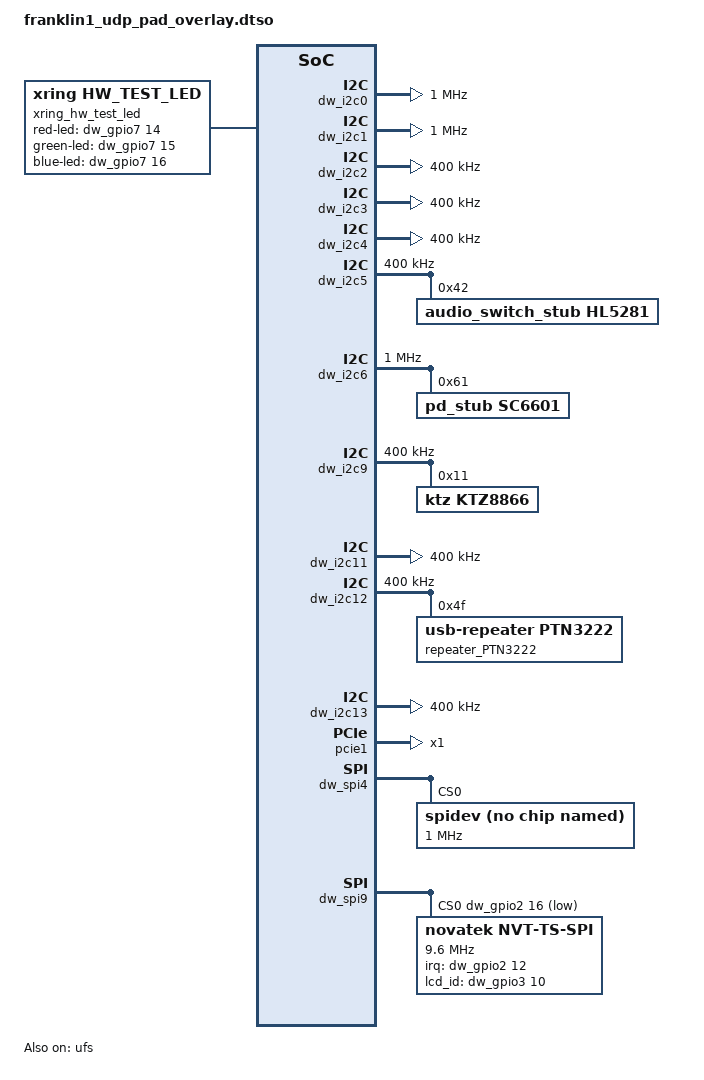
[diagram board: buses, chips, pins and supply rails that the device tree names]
// SPDX-License-Identifier: (GPL-2.0+ OR MIT)
/*
 * Copyright 2022 XiaoMi
 */

/dts-v1/;
/plugin/;
#include "franklin1_udp_pad.dtsi"
#include "../franklin1_udp.dtsi"
#include "franklin1_udp_pad_display_overlay.dtsi"
#include "franklin1_udp_pad_camera_overlay.dtsi"
#include "franklin1_udp_pad_audio_overlay.dtsi"
#include "xring_o1_udp_pad_pinctrl.dtsi"
#include "xring_o1_udp_pad_wifi_overlay.dtsi"
#include "franklin1_udp_pad_memory.dtsi"
#include "xring_o1_udp_pad_vpu_overlay.dtsi"
#include "xring_o1_udp_pad_uefi_pinctrl.dtsi"
#include "franklin1_udp_pad_thermal_overlay.dtsi"
#include <dt-bindings/xring/xr-id.h>
#include <dt-bindings/xring/xr-o1-clock.h>
#include <dt-bindings/gpio/gpio.h>

#define PRODUCT_ID          0x00        // product id, ADC6 coded value
#define PRODUCT_LOT         0x00        // product lot id, ADC7 coded value
#define PRODUCT_SUB_LOT     0x02        // product sub lot id, ADC8 coded value

//Splice the BoardId
#define BOARD_ID            ((F1_CS_CHIPID << 24) | (PRODUCT_ID << 16) | (PRODUCT_LOT << 8) | PRODUCT_SUB_LOT)

/ {
    board_id = <BOARD_ID>;
    board_rev = <0x00000000>;
};

&chosen {
    // Add vendor board bootargs at here!
    bootargs_ext = " ";
};

&ufs {
    status = "okay";
};

&dw_mmc {
    status = "disabled";
    clocks = <&xr_clk XR_CLK_EMMC_CCLK_BASE_INI>, <&xr_clk XR_HCLK_EMMC>;
};

&dw_i2c0 {
    status = "okay";
    clock-frequency = <1000000>;
    pinctrl-names = "init", "default", "sleep";
    pinctrl-0 = <&i2c0_scl_init>, <&i2c0_sda_init>;
    pinctrl-1 = <&i2c0_scl_default>, <&i2c0_sda_default>;
    pinctrl-2 = <&i2c0_scl_sleep>, <&i2c0_sda_sleep>;
};

&dw_i2c1 {
    status = "okay";
    clock-frequency = <1000000>;
    pinctrl-names = "init", "default", "sleep";
    pinctrl-0 = <&i2c1_scl_init>, <&i2c1_sda_init>;
    pinctrl-1 = <&i2c1_scl_default>, <&i2c1_sda_default>;
    pinctrl-2 = <&i2c1_scl_sleep>, <&i2c1_sda_sleep>;
};

&dw_i2c2 {
    status = "okay";
    clock-frequency = <400000>;
    pinctrl-names = "init", "default", "sleep";
    pinctrl-0 = <&i2c2_scl_init>, <&i2c2_sda_init>;
    pinctrl-1 = <&i2c2_scl_default>, <&i2c2_sda_default>;
    pinctrl-2 = <&i2c2_scl_sleep>, <&i2c2_sda_sleep>;
};

&dw_i2c3 {
    status = "okay";
    clock-frequency = <400000>;
    pinctrl-names = "init", "default", "sleep";
    pinctrl-0 = <&i2c3_scl_init>, <&i2c3_sda_init>;
    pinctrl-1 = <&i2c3_scl_default>, <&i2c3_sda_default>;
    pinctrl-2 = <&i2c3_scl_sleep>, <&i2c3_sda_sleep>;
};

&dw_i2c4 {
    status = "okay";
    clock-frequency = <400000>;
    pinctrl-names = "init", "default", "sleep";
    pinctrl-0 = <&i2c4_scl_init>, <&i2c4_sda_init>;
    pinctrl-1 = <&i2c4_scl_default>, <&i2c4_sda_default>;
    pinctrl-2 = <&i2c4_scl_sleep>, <&i2c4_sda_sleep>;
};

&dw_i2c5 {
    status = "okay";
    clock-frequency = <400000>;
    #address-cells = <1>;
    #size-cells = <0>;
    pinctrl-names = "init", "default", "sleep";
    pinctrl-0 = <&i2c5_scl_init>, <&i2c5_sda_init>;
    pinctrl-1 = <&i2c5_scl_default>, <&i2c5_sda_default>;
    pinctrl-2 = <&i2c5_scl_sleep>, <&i2c5_sda_sleep>;
    hw-spinlock = <82>;
    HL5281@42 {
        compatible = "audio_switch_stub,HL5281";
        reg = <0x42>;
        status = "okay";
    };
};

&dw_i2c6 {
    status = "okay";
    clock-frequency = <1000000>;
    #address-cells = <1>;
    #size-cells = <0>;
    pinctrl-names = "init", "default", "sleep";
    pinctrl-0 = <&i2c6_scl_init>, <&i2c6_sda_init>;
    pinctrl-1 = <&i2c6_scl_default>, <&i2c6_sda_default>;
    pinctrl-2 = <&i2c6_scl_sleep>, <&i2c6_sda_sleep>;
    SC6601@61 {
        compatible = "pd_stub,SC6601";
        reg = <0x61>;
        status = "okay";

        connector {
            compatible = "usb-c-connector";

            power-role = "source";
            data-role = "dual";
            self-powered;
        };
    };
};

&dw_i2c9 {
    status = "okay";
    #address-cells = <1>;
    #size-cells = <0>;
    clock-frequency = <400000>;
    pinctrl-names = "init", "default", "sleep";
    pinctrl-0 = <&i2c9_scl_init>, <&i2c9_sda_init>;
    pinctrl-1 = <&i2c9_scl_default>, <&i2c9_sda_default>;
    pinctrl-2 = <&i2c9_scl_sleep>, <&i2c9_sda_sleep>;

    ktz8866@11 {
        compatible = "ktz,ktz8866";
        reg = <0x11>;
        status = "okay";
    };
};

&dw_i2c11 {
    status = "okay";
    clock-frequency = <400000>;
};

&dw_i2c12 {
    status = "okay";
    clock-frequency = <400000>;
    #address-cells = <1>;
    #size-cells = <0>;
    pinctrl-names = "init", "default", "sleep";
    pinctrl-0 = <&i2c12_scl_init>, <&i2c12_sda_init>;
    pinctrl-1 = <&i2c12_scl_default>, <&i2c12_sda_default>;
    pinctrl-2 = <&i2c12_scl_sleep>, <&i2c12_sda_sleep>;
    repeater_PTN3222: PTN3222@4f {
        compatible = "usb-repeater,PTN3222";
        reg = <0x4f>;
        device-repeater =
                <0x21 0x07
                 0x64 0x08
                 0x03 0x0A>;
        host-repeater =
                <0x21 0x07
                 0x64 0x08
                 0x03 0x0A>;

        pinctrl-names = "init","release","reset";
        pinctrl-0 = <&gpio_154_init>;
        pinctrl-1 = <&gpio_154_default>;
        pinctrl-2 = <&gpio_154_sleep>;
        status = "okay";
    };
};

&dw_i2c13 {
    clock-frequency = <400000>;
    pinctrl-names = "init", "default", "sleep";
    pinctrl-0 = <&i2c13_scl_init>, <&i2c13_sda_init>;
    pinctrl-1 = <&i2c13_scl_default>, <&i2c13_sda_default>;
    pinctrl-2 = <&i2c13_scl_sleep>, <&i2c13_sda_sleep>;
};

&npu_smmu {
	status = "okay";
};

&pcie1 {
        status = "okay";
        max-link-speed = <3>;
        reset-assert-ms = <100>;
        pinctrl-names = "default";
        pinctrl-0 = <&pcie1_clk_req_n_init>;
        num-lanes = <1>;
        bypass-smmu;
        l2-diffbuf-shutdown;
        fw-upd-workaround;
        l12-doze-unmask;
        ep-pmic-en-gpio = <&dw_gpio4 2 0>;
        ep-device-type = "wifi";
};

&pcie0_pcie_test {
        modem-pmic-en = <&dw_gpio7 6 0>;
        modem-pmic-rst = <&dw_gpio6 28 0>;
        wf-pmic-rst = <&dw_gpio4 0 0>;
        wf-pmic-en = <&dw_gpio4 2 0>;
        max-link-speed = <4>;
};

&pcie1_pcie_test {
        modem-pmic-en = <&dw_gpio7 6 0>;
        modem-pmic-rst = <&dw_gpio6 28 0>;
        wf-pmic-rst = <&dw_gpio4 0 0>;
        wf-pmic-en = <&dw_gpio4 2 0>;
        max-link-speed = <4>;
};

&{/} {
    xring_hw_test_led {
        compatible = "xring,hw_test_led";
        red-led-gpio = <&dw_gpio7 14 0>;
        green-led-gpio = <&dw_gpio7 15 0>;
        blue-led-gpio = <&dw_gpio7 16 0>;
        status = "okay";
    };
};

&usb_hsphy {
    usb-repeater = <&repeater_PTN3222>;
};

&dw_spi4 {
    #address-cells = <1>;
    #size-cells = <0>;
    pinctrl-0 = <&spi4_mosi_init>;
    pinctrl-1 = <&spi4_mosi_default>;
    pinctrl-2 = <&spi4_mosi_sleep>;
    pinctrl-names = "init", "default", "sleep";
    status = "okay";
    spidev@0 {
        compatible = "linux,spidev";
        spi-max-frequency = <1000000>;
        reg = <0>;
    };
};

&dw_spi9 {
    #address-cells = <1>;
    #size-cells = <0>;
    pinctrl-0 = <&spi9_clk_init>, <&spi9_mosi_init>,
                <&spi9_miso_init>;
    pinctrl-1 = <&spi9_clk_default>, <&spi9_mosi_default>,
                <&spi9_miso_default>;
    pinctrl-2 = <&spi9_clk_sleep>, <&spi9_mosi_sleep>,
                <&spi9_miso_sleep>;
    pinctrl-names = "init", "default", "sleep";
    cs-gpios = <&dw_gpio2 16 GPIO_ACTIVE_LOW>;
    status = "okay";
    autosuspend-delay = <10>;
    novatek@0 {
        compatible = "novatek,NVT-ts-spi";
        dsi-panel = <&dsi_panel_m81_dualdsi_dsc_lcd_video>;
        reg = <0>;
        status = "ok";
        pinctrl-0 = <&gpio_076_init>, <&gpio_080_init>;
        pinctrl-1 = <&gpio_076_default>, <&gpio_080_default>;
        pinctrl-2 = <&gpio_076_sleep>, <&gpio_080_sleep>;
        pinctrl-names = "init", "default", "sleep";
        spi-max-frequency = <9600000>;	//4800000,9600000,15000000,19200000
        novatek,irq-gpio = <&dw_gpio2 12 0>;
        novatek,lcd_id-gpio = <&dw_gpio3 10 0>;

        novatek,pen-support;
        novatek,stylus-resol-double;

        /* MP */
        novatek,mp-support-dt;

        /*new touch faeature default param*/
        novatek,touch-game-param-config1 = <2 2 1 2 1>;
        novatek,touch-game-param-config2 = <2 2 2 2 1>;
        novatek,touch-game-param-config3 = <2 2 3 2 1>;
    };
};

&pmic {
	pmic-spmi-test {
		compatible = "xr-pmic-spmi-test";
		status = "okay";
	};
};

&sensorhub {
    conn {
		sh_gnss {
			status = "disabled";
		};
		sh_modem {
			status = "disabled";
		};
    };
    sensordriver {
        status = "okay";
        amg {
            status = "okay";
            amg1 {
                compatible = "st,lsm6dsvq";
                bus_type = <1>;
                bus_num = <1>;
                slave_address = <0>; // if i2c slave
                bus_speed_khz = <0>;
                i3c_device_id_flags = <0xF>;
                i3c_device_id_dcr = <0x44>;
                i3c_device_id_pid = /bits/ 64 <0x2080070120B>;
                driver_id = "lsm6dsvq";
                orientation = /bits/ 8 <1 4 6>;
                irq_num = /bits/ 8 <13>;
                chip_id_addr = <0xF>;
                chip_id_value = <0x70>;
                status = "okay";
            };
        };
        ois {
            status = "okay";
            ois1 {
                compatible = "st,ois";
                bus_type = <2>;
                bus_num = <11>;
                slave_address = <0>; // if i2c slave
                bus_speed_khz = <9800>;
                driver_id = "ois";
                orientation = /bits/ 8 <1 4 6>;
                chip_id_addr = <0xF>;
                chip_id_value = <0x73>;
                bus_type_x = <0>;
                bus_num_x = <16>;
                slave_address_x = <0x0E>;
                bus_speed_khz_x = <1000>;
                bus_type_y = <0>;
                bus_num_y = <16>;
                slave_address_y = <0x4E>;
                bus_speed_khz_y = <1000>;
                status = "okay";
            };
        };
        mag {
            status = "okay";
            mag1 {
                compatible = "qmc,qmc6308";
                bus_type = <0>;
                bus_num = <18>;
                slave_address = <0x2C>; // if i2c slave
                bus_speed_khz = <400>;
                driver_id = "qmc6308";
                orientation = /bits/ 8 <2 4 5>;
                chip_id_addr = <0x0>;
                chip_id_value = <0x80>;
                status = "okay";
            };
        };
        als {
            status = "okay";
            als1 {
                compatible = "ams,alsps";
                bus_type = <0>;
                bus_num = <19>;
                slave_address = <0x39>; // if i2c slave
                bus_speed_khz = <400>;
                driver_id = "tcs3720";
                chip_id_addr = <0x92>;
                chip_id_value = <0x82>;
                status = "okay";
            };
        };
        flicker {
            status = "okay";
            flicker1 {
                compatible = "sip,sip2326";
                bus_type = <0>;
                bus_num = <17>;
                slave_address = <0x59>; // if i2c slave
                bus_speed_khz = <400>;
                driver_id = "sip2326";
                chip_id_addr = <0x3>;
                chip_id_value = <0x6>;
                status = "okay";
            };
        };
        bar {
            status = "okay";
            bar1 {
                compatible = "spl,spl07";
                bus_type = <0>;
                bus_num = <19>;
                slave_address = <0x76>; // if i2c slave
                bus_speed_khz = <400>;
                driver_id = "spl07";
                chip_id_addr = <0x0D>;
                chip_id_value = <0x11>;
                status = "okay";
            };
        };
        sar {
            status = "okay";
            sar1 {
                compatible = "hx,hx9035";
                bus_type = <0>;
                bus_num = <17>;
                slave_address = <0x1B>; // if i2c slave
                bus_speed_khz = <400>;
                driver_id = "hx9035";
                chip_id_addr = <0x0001>;
                chip_id_value = <0x2E>;
                status = "okay";
            };
        };
    };
};
